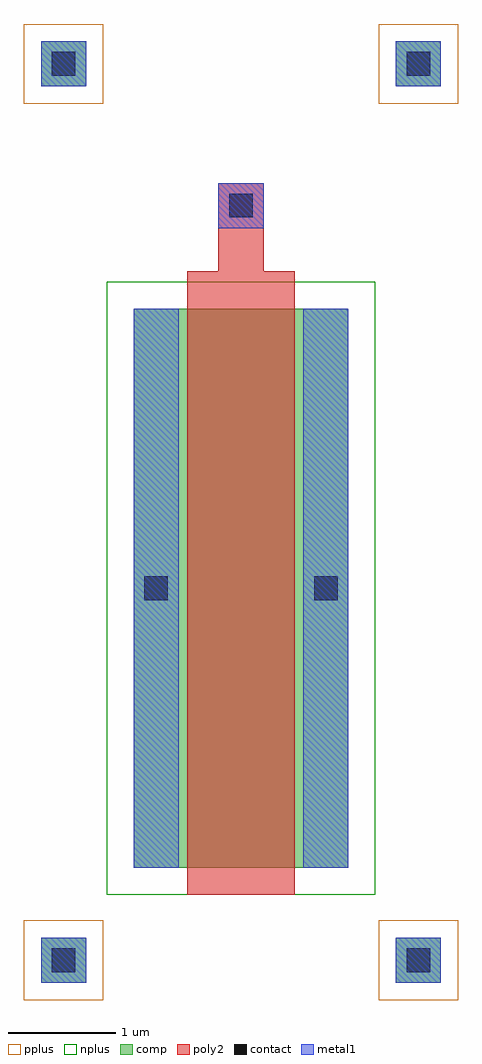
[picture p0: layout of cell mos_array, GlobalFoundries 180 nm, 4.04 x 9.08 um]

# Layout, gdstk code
import gdstk
lib = gdstk.Library(unit=1e-6, precision=5e-10)
def R(c, l, rs):  # rectangles x0, y0, x1, y1
    for r in rs: c.add(gdstk.rectangle(r[:2], r[2:], *l))
comp = (22, 0)
poly2 = (30, 0)
pplus = (31, 0)
nplus = (32, 0)
contact = (33, 0)
metal1 = (34, 0)

mos_array = lib.new_cell('mos_array')
R(mos_array, comp, [(-0.86,-1.07,-0.44,-0.65), (2.44,-1.07,2.86,-0.65), (0,0,2,5.2), (-0.86,7.27,-0.44,7.69), (2.44,7.27,2.86,7.69)])
R(mos_array, poly2, [(0.5,-0.25,1.5,5.2), (0.5,5.2,1.5,5.55), (0.79,5.55,1.21,6.37)])
R(mos_array, pplus, [(-1.02,-1.23,-0.28,-0.49), (2.28,-1.23,3.02,-0.49), (-1.02,7.11,-0.28,7.85), (2.28,7.11,3.02,7.85)])
R(mos_array, nplus, [(-0.25,-0.25,2.25,5.45)])
R(mos_array, contact, [(-0.76,-0.97,-0.54,-0.75), (2.54,-0.97,2.76,-0.75), (0.1,2.49,0.32,2.71), (1.68,2.49,1.9,2.71), (0.89,6.05,1.11,6.27), (-0.76,7.37,-0.54,7.59), (2.54,7.37,2.76,7.59)])
R(mos_array, metal1, [(-0.86,-1.07,-0.44,-0.65), (2.44,-1.07,2.86,-0.65), (0,0,0.42,5.2), (1.58,0,2,5.2), (0.79,5.95,1.21,6.37), (-0.86,7.27,-0.44,7.69), (2.44,7.27,2.86,7.69)])

lib.write_gds('mos_array.gds')
